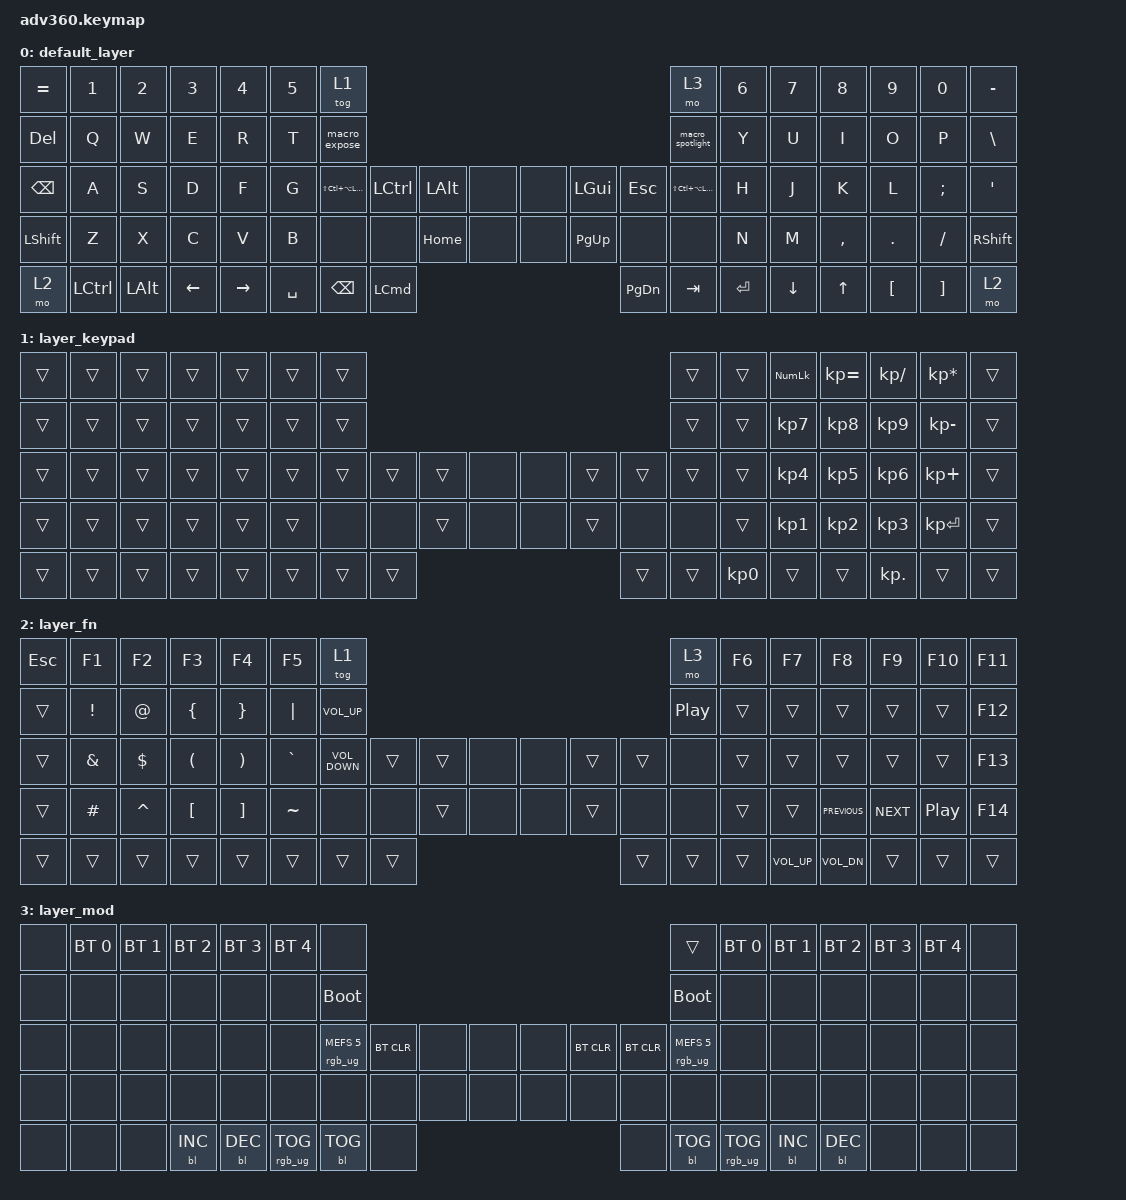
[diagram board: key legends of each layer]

/*
 * Copyright (c) 2020 The ZMK Contributors
 *
 * SPDX-License-Identifier: MIT
 */


/* THIS FILE WAS GENERATED!
 *
 * This file was generated automatically. You may or may not want to
 * edit it directly.
 */

#include <behaviors.dtsi>
#include <dt-bindings/zmk/keys.h>
#include <dt-bindings/zmk/bt.h>
#include <dt-bindings/zmk/rgb.h>
#include <dt-bindings/zmk/backlight.h>

#define HYPER LS(LC(LA(LGUI)))


/ {
  behaviors {
    #include "macros.dtsi"

    hm: homerow_mods {
        compatible = "zmk,behavior-hold-tap";
        label = "HOMEROW_MODS";
        #binding-cells = <2>;
        tapping-term-ms = <200>;
        quick_tap_ms = <175>;
        flavor = "tap-preferred";
        bindings = <&kp>, <&kp>;
    };
  };

    keymap {
        compatible = "zmk,keymap";


        default_layer {
            bindings = <
  &kp EQUAL     &kp N1    &kp N2    &kp N3     &kp N4  &kp N5                   &tog 1                                                                                  &mo 3  &kp N6          &kp N7        &kp N8    &kp N9    &kp N0  &kp MINUS
 &kp DELETE      &kp Q     &kp W     &kp E      &kp R   &kp T            &macro_expose                                                                       &macro_spotlight   &kp Y           &kp U         &kp I     &kp O     &kp P   &kp BSLH
   &kp BSPC      &kp A     &kp S     &kp D      &kp F   &kp G                &kp HYPER      &kp LCTRL          &kp LALT   &none   &none   &kp LGUI  &kp ESC         &kp HYPER   &kp H           &kp J         &kp K     &kp L  &kp SEMI    &kp SQT
  &kp LSHFT      &kp Z     &kp X     &kp C      &kp V   &kp B                    &none          &none          &kp HOME   &none   &none  &kp PG_UP    &none             &none   &kp N           &kp M     &kp COMMA   &kp DOT  &kp FSLH  &kp RSHFT
      &mo 2  &kp LCTRL  &kp LALT  &kp LEFT  &kp RIGHT                        &kp SPACE  &kp BACKSPACE  &kp LEFT_COMMAND                  &kp PG_DN  &kp TAB         &kp ENTER          &kp DOWN_ARROW  &kp UP_ARROW  &kp LBKT  &kp RBKT      &mo 2
            >;
        };

        layer_keypad {
            bindings = <
 &trans  &trans  &trans  &trans  &trans  &trans            &trans                                                     &trans  &trans  &kp KP_NUM  &kp KP_EQUAL  &kp KP_DIVIDE  &kp KP_MULTIPLY  &trans
 &trans  &trans  &trans  &trans  &trans  &trans            &trans                                                     &trans  &trans   &kp KP_N7     &kp KP_N8      &kp KP_N9     &kp KP_MINUS  &trans
 &trans  &trans  &trans  &trans  &trans  &trans            &trans  &trans  &trans   &none   &none  &trans  &trans     &trans  &trans   &kp KP_N4     &kp KP_N5      &kp KP_N6      &kp KP_PLUS  &trans
 &trans  &trans  &trans  &trans  &trans  &trans             &none   &none  &trans   &none   &none  &trans   &none      &none  &trans   &kp KP_N1     &kp KP_N2      &kp KP_N3     &kp KP_ENTER  &trans
 &trans  &trans  &trans  &trans  &trans                    &trans  &trans  &trans                  &trans  &trans  &kp KP_N0              &trans        &trans     &kp KP_DOT           &trans  &trans
            >;
        };

        layer_fn {
            bindings = <
 &kp ESCAPE    &kp F1     &kp F2    &kp F3    &kp F4     &kp F5                       &tog 1                                                             &mo 3  &kp F6        &kp F7          &kp F8      &kp F9           &kp F10  &kp F11
     &trans  &kp EXCL     &kp AT  &kp LBRC  &kp RBRC   &kp PIPE                 &kp C_VOL_UP                                                  &kp C_PLAY_PAUSE  &trans        &trans          &trans      &trans            &trans  &kp F12
     &trans  &kp AMPS   &kp DLLR  &kp LPAR  &kp RPAR  &kp GRAVE            &kp C_VOLUME_DOWN  &trans  &trans   &none   &none  &trans  &trans             &none  &trans        &trans          &trans      &trans            &trans  &kp F13
     &trans  &kp HASH  &kp CARET  &kp LBKT  &kp RBKT  &kp TILDE                        &none   &none  &trans   &none   &none  &trans   &none             &none  &trans        &trans  &kp C_PREVIOUS  &kp C_NEXT  &kp C_PLAY_PAUSE  &kp F14
     &trans    &trans     &trans    &trans    &trans                                  &trans  &trans  &trans                  &trans  &trans            &trans          &kp C_VOL_UP    &kp C_VOL_DN      &trans            &trans   &trans
            >;
        };

        layer_mod {
            bindings = <
  &none  &bt BT_SEL 0  &bt BT_SEL 1  &bt BT_SEL 2  &bt BT_SEL 3  &bt BT_SEL 4                             &none                                                                              &trans  &bt BT_SEL 0  &bt BT_SEL 1  &bt BT_SEL 2  &bt BT_SEL 3  &bt BT_SEL 4   &none
  &none         &none         &none         &none         &none         &none                       &bootloader                                                                         &bootloader         &none         &none         &none         &none         &none   &none
  &none         &none         &none         &none         &none         &none            &rgb_ug RGB_MEFS_CMD 5  &bt BT_CLR   &none   &none   &none  &bt BT_CLR  &bt BT_CLR  &rgb_ug RGB_MEFS_CMD 5         &none         &none         &none         &none         &none   &none
  &none         &none         &none         &none         &none         &none                             &none       &none   &none   &none   &none       &none       &none                   &none         &none         &none         &none         &none         &none   &none
  &none         &none         &none    &bl BL_INC    &bl BL_DEC                                 &rgb_ug RGB_TOG  &bl BL_TOG   &none                       &none  &bl BL_TOG         &rgb_ug RGB_TOG                  &bl BL_INC    &bl BL_DEC         &none         &none   &none
            >;
        };

    };
};
